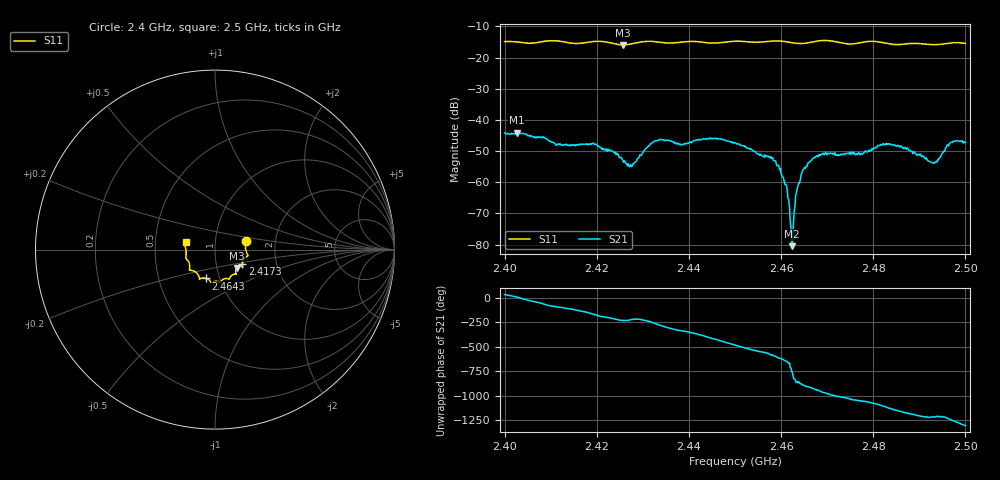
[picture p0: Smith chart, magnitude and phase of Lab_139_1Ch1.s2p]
# Hz S RI R 50
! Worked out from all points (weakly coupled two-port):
!   601 points, 2.4 GHz to 2.5 GHz, reference 50 ohm
!   highest |S21| = -44.10 dB at 2.4027 GHz (marker M1); lowest = -80.5 dB at 2.4623 GHz (marker M2)
!   lowest |S11| = -15.9 dB at 2.4257 GHz (marker M3), VSWR 1.38, Z = 62.4 - j13.1 ohm
!   |S11| at or under -10 dB: start of sweep to end of sweep
!   S12 and S22 are empty: the file has one direction only
!   S11 on the Smith chart (normalised r, x): 2.4 GHz: 1.41, +0.14; 2.4173 GHz: 1.34, -0.23; 2.4643 GHz: 0.86, -0.28; 2.5 GHz: 0.72, +0.06
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2.4e9  0.1735 0.0494  0.00538 0.00313  0 0  0 0
2.402667e9  0.1743 0.0368  0.00623 0.000343  0 0  0 0
2.416667e9  0.1529 -0.0751  -0.00304 -0.00272  0 0  0 0
2.417333e9  0.1524 -0.0824  -0.00322 -0.00247  0 0  0 0
2.423e9  0.1448 -0.0934  -0.00286 0.00159  0 0  0 0
2.425667e9  0.1224 -0.1025  -0.00123 0.00183  0 0  0 0
2.4275e9  0.1154 -0.1191  -0.0013 0.00123  0 0  0 0
2.433333e9  0.1127 -0.1366  0.000294 0.00471  0 0  0 0
2.45e9  0.0296 -0.1808  -0.0024 -0.00358  0 0  0 0
2.459e9  -0.0215 -0.184  -0.000822 0.00172  0 0  0 0
2.461e9  -0.0257 -0.1782  0.000261 0.000884  0 0  0 0
2.4615e9  -0.0271 -0.1752  0.000307 0.000451  0 0  0 0
2.462e9  -0.0294 -0.1724  0.000228 4.14e-05  0 0  0 0
2.462333e9  -0.0313 -0.1704  7.95e-05 -5.03e-05  0 0  0 0
2.462833e9  -0.0349 -0.1674  -0.000104 -0.000314  0 0  0 0
2.463333e9  -0.0393 -0.1647  -0.000563 -0.000385  0 0  0 0
2.464333e9  -0.0501 -0.1604  -0.00119 -0.000519  0 0  0 0
2.466667e9  -0.0762 -0.1597  -0.00211 0.000816  0 0  0 0
2.483333e9  -0.1406 -0.0896  0.00293 -0.00283  0 0  0 0
2.493e9  -0.1605 -0.0139  -0.00138 -0.00154  0 0  0 0
2.497e9  -0.1703 0.0264  -0.00423 -0.000988  0 0  0 0
2.5e9  -0.1635 0.0417  -0.00326 0.00282  0 0  0 0
